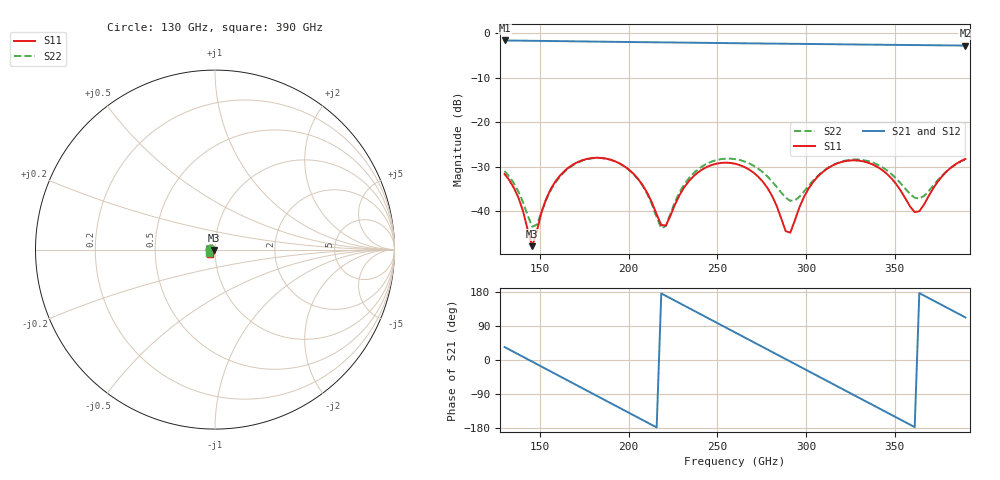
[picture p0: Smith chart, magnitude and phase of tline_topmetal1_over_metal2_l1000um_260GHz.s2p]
#  GHZ S DB R 50
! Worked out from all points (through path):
!   101 points, 130 GHz to 390 GHz, reference 50 ohm
!   highest |S21| = -1.68 dB at 130 GHz (marker M1); lowest = -2.8 dB at 390 GHz (marker M2)
!   group delay of S21, straight-line fit = 6.86 ps
!   lowest |S11| = -47.8 dB at 145.6 GHz (marker M3), VSWR 1.01, Z = 49.7 - j0.206 ohm
!   |S11| at or under -10 dB: start of sweep to end of sweep
!   |S22| runs from -43.8 to -28.0 dB; largest |S21 - S12| = 9.3e-14
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130  -31.64 170.9  -1.68 34.1  -1.68 34.1  -30.97 175.1
137.8  -36.95 158.9  -1.72 14.9  -1.72 14.9  -35.62 165.5
145.6  -47.84 -149.2  -1.76 -4.4  -1.76 -4.4  -43.49 -161.4
156  -35.04 -96.2  -1.81 -30.2  -1.81 -30.2  -35.31 -104.1
174.2  -28.50 -133.1  -1.90 -75.2  -1.90 -75.2  -28.60 -134.7
187.2  -28.19 -162.4  -1.96 -107.4  -1.96 -107.4  -28.21 -162.6
200.2  -30.69 170.6  -2.03 -139.5  -2.03 -139.5  -30.71 171.2
210.6  -35.96 157.6  -2.07 -165.1  -2.07 -165.1  -36.20 158.8
218.4  -43.08 -174.1  -2.11 175.6  -2.11 175.6  -43.83 -166.6
221  -43.20 -145.7  -2.12 169.2  -2.12 169.2  -43.31 -134.8
228.8  -36.31 -115.8  -2.15 149.9  -2.15 149.9  -35.66 -108.6
236.6  -32.14 -123.7  -2.19 130.6  -2.19 130.6  -31.46 -117.2
249.6  -29.32 -148.4  -2.25 98.5  -2.25 98.5  -28.51 -141.1
260  -29.34 -170.1  -2.29 72.9  -2.29 72.9  -28.30 -161.0
275.6  -33.33 160.7  -2.36 34.4  -2.36 34.4  -31.22 175.0
291.2  -44.81 -142.6  -2.42 -4.0  -2.42 -4.0  -37.65 -164.2
304.2  -33.38 -113.9  -2.48 -36.1  -2.48 -36.1  -33.08 -130.7
325  -28.61 -152.5  -2.57 -87.4  -2.57 -87.4  -28.45 -156.1
348.4  -32.69 167.6  -2.66 -145.1  -2.66 -145.1  -31.70 170.6
364  -40.00 -146.2  -2.72 176.5  -2.72 176.5  -37.16 -159.7
377  -32.08 -122.8  -2.77 144.4  -2.77 144.4  -31.93 -134.8
390  -28.27 -142.4  -2.83 112.4  -2.83 112.4  -28.36 -149.7
